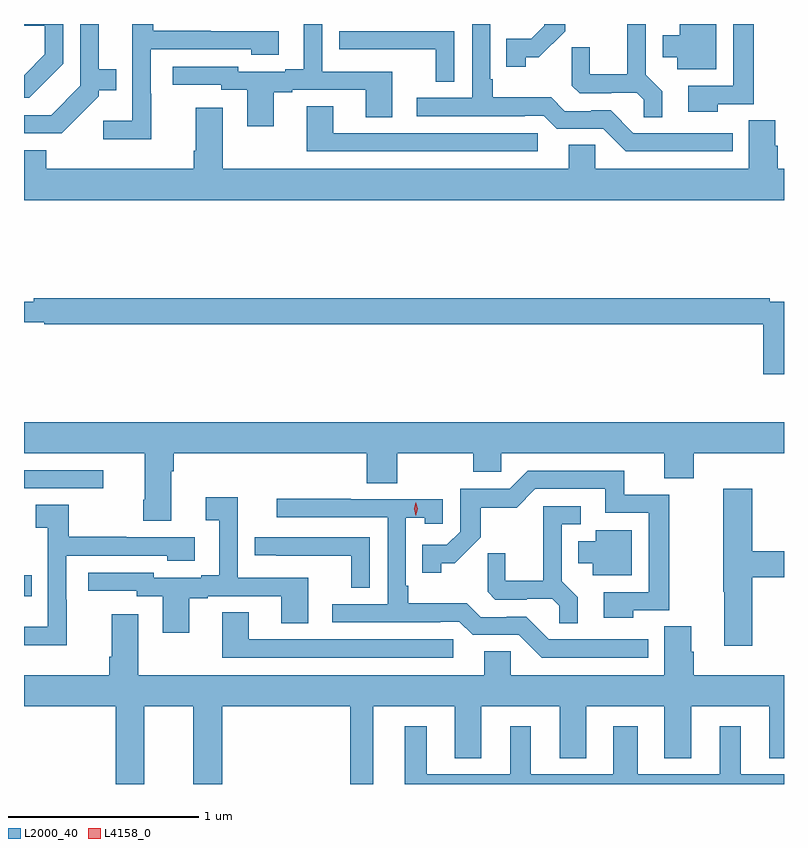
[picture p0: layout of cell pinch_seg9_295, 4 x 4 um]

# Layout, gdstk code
import gdstk
lib = gdstk.Library(unit=1e-6, precision=1e-09)
def R(c, l, rs):  # rectangles x0, y0, x1, y1
    for r in rs: c.add(gdstk.rectangle(r[:2], r[2:], *l))
def P(c, l, *ps):  # polygons
    for p in ps: c.add(gdstk.Polygon(p, *l))
L2000_40 = (2000, 40)
L4158_0 = (4158, 0)

pinch_seg9_295 = lib.new_cell('pinch_seg9_295')
R(pinch_seg9_295, L2000_40, [(440.94,1189.007,440.981,1189.117), (440.94,1189.575,441.358,1189.671)])
P(pinch_seg9_295, L2000_40, [(441.609,1191.653),(441.606,1191.653),(441.606,1191.885),(442.137,1191.885),(442.137,1191.857),(442.282,1191.857),(442.282,1191.981),(441.923,1191.981),(441.923,1191.984),(441.619,1191.984),(441.619,1192.019),(441.51,1192.019),(441.51,1191.511),(441.357,1191.511),(441.357,1191.413),(441.609,1191.413)],
  [(444.299,1191.665),(444.213,1191.751),(444.213,1192.019),(444.116,1192.019),(444.116,1191.754),(443.918,1191.754),(443.918,1191.897),(443.824,1191.897),(443.824,1191.695),(443.865,1191.654),(444.03,1191.654),(444.03,1191.657),(444.164,1191.657),(444.201,1191.62),(444.201,1191.529),(444.299,1191.529)],
  [(444.67,1191.444),(444.147,1191.444),(444.027,1191.564),(443.926,1191.564),(443.926,1191.561),(443.787,1191.561),(443.714,1191.634),(443.407,1191.634),(443.407,1191.727),(443.394,1191.727),(443.394,1192.019),(443.298,1192.019),(443.298,1191.63),(443.007,1191.63),(443.007,1191.534),(443.576,1191.534),(443.576,1191.537),(443.676,1191.537),(443.745,1191.468),(443.988,1191.468),(444.108,1191.348),(444.67,1191.348)],
  [(441.147,1191.809),(441.147,1192.019),(440.94,1192.019),(440.94,1192.01),(441.05,1192.01),(441.05,1191.86),(440.94,1191.75),(440.94,1191.63),(440.968,1191.63)],
  [(441.333,1191.639),(441.333,1191.671),(441.425,1191.671),(441.425,1191.781),(441.334,1191.781),(441.334,1192.019),(441.237,1192.019),(441.237,1191.693),(441.084,1191.54),(440.94,1191.54),(440.94,1191.444),(441.138,1191.444)],
  [(444.591,1191.597),(444.781,1191.597),(444.781,1192.019),(444.672,1192.019),(444.672,1191.693),(444.435,1191.693),(444.435,1191.557),(444.591,1191.557)],
  [(443.58,1191.845),(443.65,1191.845),(443.788,1191.982),(443.788,1192.019),(443.679,1192.019),(443.679,1192.011),(443.61,1191.942),(443.479,1191.942),(443.479,1191.795),(443.58,1191.795)],
  [(442.255,1191.66),(442.351,1191.66),(442.351,1191.672),(442.739,1191.672),(442.739,1191.529),(442.879,1191.529),(442.879,1191.768),(442.509,1191.768),(442.509,1192.019),(442.412,1192.019),(442.412,1191.781),(442.316,1191.781),(442.316,1191.768),(442.068,1191.768),(442.068,1191.795),(441.723,1191.795),(441.723,1191.699),(441.978,1191.699),(441.978,1191.672),(442.115,1191.672),(442.115,1191.48),(442.255,1191.48)],
  [(444.583,1192.018),(444.392,1192.018),(444.392,1191.961),(444.302,1191.961),(444.302,1191.845),(444.377,1191.845),(444.377,1191.782),(444.583,1191.782)],
  [(443.205,1191.981),(442.599,1191.981),(442.599,1191.886),(442.711,1191.886),(442.711,1191.885),(443.107,1191.885),(443.107,1191.715),(443.205,1191.715)],
  [(443.644,1191.444),(442.567,1191.444),(442.567,1191.587),(442.427,1191.587),(442.427,1191.348),(443.644,1191.348)],
  [(444.94,1191.256),(444.908,1191.256),(444.908,1191.378),(444.895,1191.378),(444.895,1191.512),(444.755,1191.512),(444.755,1191.256),(443.946,1191.256),(443.946,1191.383),(443.807,1191.383),(443.807,1191.256),(441.985,1191.256),(441.985,1191.577),(441.845,1191.577),(441.845,1191.352),(441.833,1191.352),(441.833,1191.256),(441.056,1191.256),(441.056,1191.355),(440.94,1191.355),(440.94,1191.092),(444.94,1191.092)],
  [(444.94,1190.556),(444.866,1190.556),(444.866,1190.576),(440.992,1190.576),(440.992,1190.557),(440.94,1190.557),(440.94,1190.448),(441.046,1190.448),(441.046,1190.44),(444.83,1190.44),(444.83,1190.175),(444.94,1190.175)],
  [(441.715,1189.664),(441.728,1189.664),(441.728,1189.76),(442.745,1189.76),(442.745,1189.603),(442.905,1189.603),(442.905,1189.76),(443.305,1189.76),(443.305,1189.662),(443.451,1189.662),(443.451,1189.76),(444.311,1189.76),(444.311,1189.627),(444.464,1189.627),(444.464,1189.76),(444.94,1189.76),(444.94,1189.924),(440.94,1189.924),(440.94,1189.76),(441.575,1189.76),(441.575,1189.516),(441.568,1189.516),(441.568,1189.404),(441.715,1189.404)],
  [(444.147,1188.933),(444.337,1188.933),(444.337,1189.542),(444.098,1189.542),(444.098,1189.668),(443.592,1189.668),(443.496,1189.572),(443.235,1189.572),(443.235,1189.347),(443.166,1189.278),(443.035,1189.278),(443.035,1189.131),(443.136,1189.131),(443.136,1189.181),(443.206,1189.181),(443.344,1189.318),(443.344,1189.474),(443.533,1189.474),(443.631,1189.572),(443.999,1189.572),(443.999,1189.446),(444.228,1189.446),(444.228,1189.029),(443.991,1189.029),(443.991,1188.893),(444.147,1188.893)],
  [(444.773,1189.108),(444.94,1189.108),(444.94,1189.244),(444.773,1189.244),(444.773,1189.573),(444.619,1189.573),(444.619,1189.031),(444.626,1189.031),(444.626,1188.747),(444.773,1188.747)],
  [(441.811,1188.996),(441.907,1188.996),(441.907,1189.008),(442.295,1189.008),(442.295,1188.865),(442.435,1188.865),(442.435,1189.104),(442.065,1189.104),(442.065,1189.528),(441.897,1189.528),(441.897,1189.408),(441.968,1189.408),(441.968,1189.117),(441.872,1189.117),(441.872,1189.104),(441.624,1189.104),(441.624,1189.131),(441.279,1189.131),(441.279,1189.035),(441.534,1189.035),(441.534,1189.008),(441.671,1189.008),(441.671,1188.816),(441.811,1188.816)],
  [(444.226,1188.78),(443.703,1188.78),(443.583,1188.9),(443.482,1188.9),(443.482,1188.897),(443.343,1188.897),(443.27,1188.97),(442.963,1188.97),(442.963,1189.063),(442.95,1189.063),(442.95,1189.421),(443.049,1189.421),(443.049,1189.389),(443.145,1189.389),(443.145,1189.518),(442.661,1189.518),(442.661,1189.521),(442.269,1189.521),(442.269,1189.422),(442.854,1189.422),(442.854,1188.966),(442.563,1188.966),(442.563,1188.87),(443.132,1188.87),(443.132,1188.873),(443.232,1188.873),(443.301,1188.804),(443.544,1188.804),(443.664,1188.684),(444.226,1188.684)],
  [(441.165,1188.989),(441.162,1188.989),(441.162,1189.221),(441.693,1189.221),(441.693,1189.193),(441.838,1189.193),(441.838,1189.317),(441.479,1189.317),(441.479,1189.32),(441.175,1189.32),(441.175,1189.49),(441.003,1189.49),(441.003,1189.369),(441.066,1189.369),(441.066,1188.847),(440.94,1188.847),(440.94,1188.749),(441.165,1188.749)],
  [(443.855,1189.001),(443.769,1189.087),(443.769,1189.386),(443.869,1189.386),(443.869,1189.482),(443.672,1189.482),(443.672,1189.09),(443.474,1189.09),(443.474,1189.233),(443.38,1189.233),(443.38,1189.031),(443.421,1188.99),(443.586,1188.99),(443.586,1188.993),(443.72,1188.993),(443.757,1188.956),(443.757,1188.865),(443.855,1188.865)],
  [(444.139,1189.354),(443.948,1189.354),(443.948,1189.297),(443.858,1189.297),(443.858,1189.181),(443.933,1189.181),(443.933,1189.118),(444.139,1189.118)],
  [(442.761,1189.317),(442.155,1189.317),(442.155,1189.222),(442.267,1189.222),(442.267,1189.221),(442.663,1189.221),(442.663,1189.051),(442.761,1189.051)],
  [(443.2,1188.78),(442.123,1188.78),(442.123,1188.923),(441.983,1188.923),(441.983,1188.684),(443.2,1188.684)],
  [(441.574,1188.428),(441.83,1188.428),(441.83,1188.019),(441.983,1188.019),(441.983,1188.428),(442.656,1188.428),(442.656,1188.019),(442.777,1188.019),(442.777,1188.428),(443.207,1188.428),(443.207,1188.155),(443.347,1188.155),(443.347,1188.428),(443.759,1188.428),(443.759,1188.155),(443.899,1188.155),(443.899,1188.428),(444.311,1188.428),(444.311,1188.155),(444.451,1188.155),(444.451,1188.428),(444.863,1188.428),(444.863,1188.155),(444.94,1188.155),(444.94,1188.592),(444.464,1188.592),(444.464,1188.714),(444.451,1188.714),(444.451,1188.848),(444.311,1188.848),(444.311,1188.592),(443.502,1188.592),(443.502,1188.719),(443.363,1188.719),(443.363,1188.592),(441.541,1188.592),(441.541,1188.913),(441.401,1188.913),(441.401,1188.688),(441.389,1188.688),(441.389,1188.592),(440.94,1188.592),(440.94,1188.428),(441.422,1188.428),(441.422,1188.019),(441.574,1188.019)],
  [(444.94,1188.07),(444.712,1188.07),(444.712,1188.322),(444.602,1188.322),(444.602,1188.07),(444.169,1188.07),(444.169,1188.322),(444.041,1188.322),(444.041,1188.07),(443.608,1188.07),(443.608,1188.322),(443.498,1188.322),(443.498,1188.07),(443.059,1188.07),(443.059,1188.322),(442.943,1188.322),(442.943,1188.019),(444.94,1188.019)])
P(pinch_seg9_295, L4158_0, [(443.002,1189.431),(443.002,1189.431),(442.993,1189.467),(443.003,1189.503),(443.003,1189.503),(443.003,1189.503),(443.013,1189.467),(443.002,1189.431)])

lib.write_gds('pinch_seg9_295.gds')
